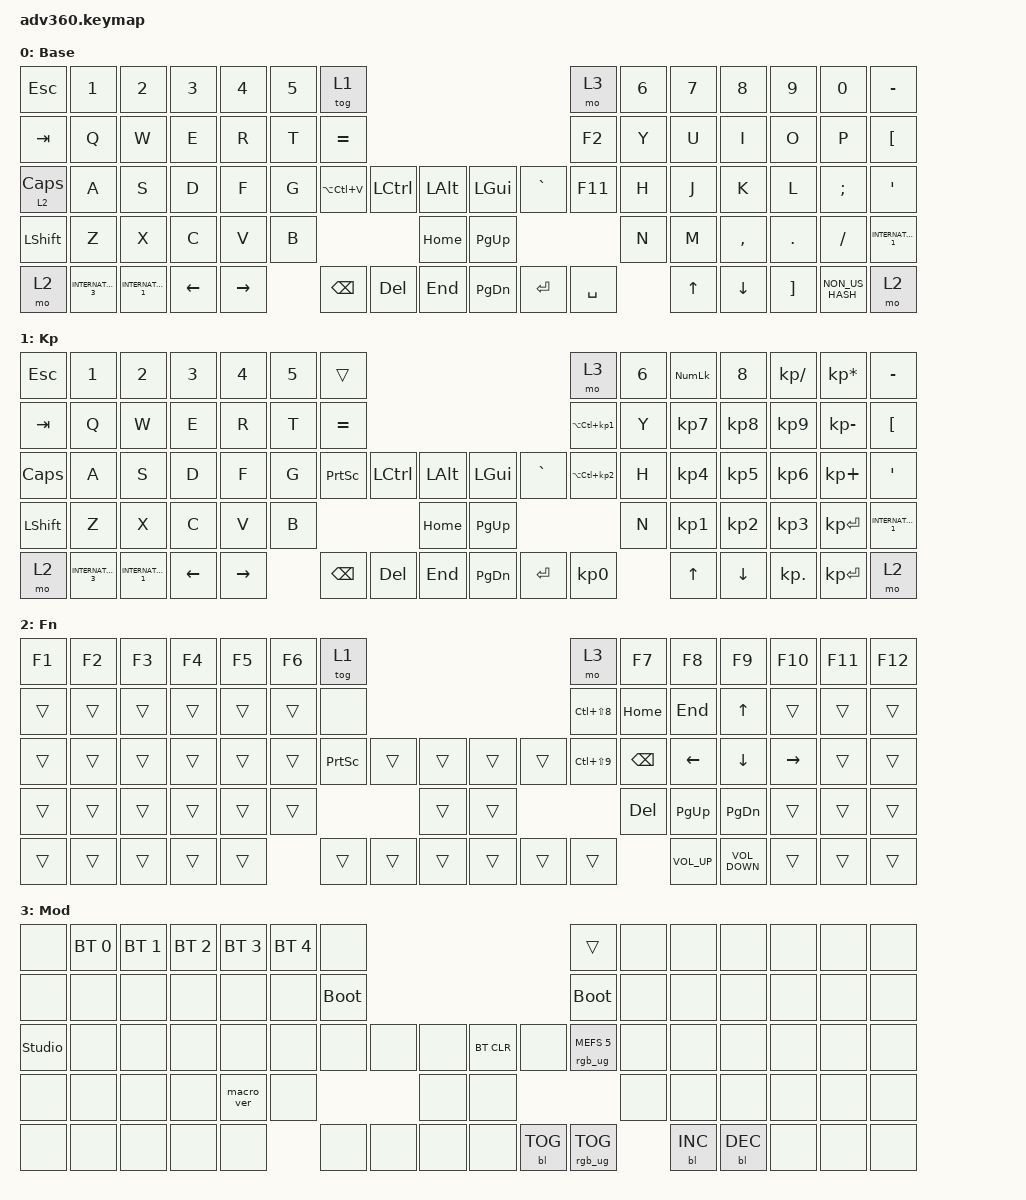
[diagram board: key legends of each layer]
#include <dt-bindings/zmk/stp.h>
#include <behaviors.dtsi>
#include <dt-bindings/zmk/backlight.h>
#include <dt-bindings/zmk/bt.h>
#include <dt-bindings/zmk/keys.h>
#include <dt-bindings/zmk/rgb.h>

/ {
    behaviors {
        #include "macros.dtsi"
      #include "version.dtsi"

        hm: homerow_mods {
            compatible = "zmk,behavior-hold-tap";
            label = "HOMEROW_MODS";
            #binding-cells = <2>;
            tapping-term-ms = <200>;
            quick_tap_ms = <175>;
            flavor = "tap-preferred";
            bindings = <&kp>, <&kp>;
        };
    };

    keymap {
        compatible = "zmk,keymap";

        default_layer {
            display-name = "Base";
            bindings = <
&kp ESCAPE      &kp N1               &kp N2               &kp N3    &kp N4     &kp N5  &tog 1                                                            &mo 3      &kp N6  &kp N7  &kp N8     &kp N9             &kp N0           &kp MINUS
&kp TAB         &kp Q                &kp W                &kp E     &kp R      &kp T   &kp EQUAL                                                         &kp F2     &kp Y   &kp U   &kp I      &kp O              &kp P            &kp LEFT_BRACKET
&lt 2 CAPSLOCK  &kp A                &kp S                &kp D     &kp F      &kp G   &kp LA(LC(V))  &kp LCTRL  &kp LALT      &kp LGUI       &kp GRAVE  &kp F11    &kp H   &kp J   &kp K      &kp L              &kp SEMICOLON    &kp SINGLE_QUOTE
&kp LSHFT       &kp Z                &kp X                &kp C     &kp V      &kp B                             &kp HOME      &kp PAGE_UP                          &kp N   &kp M   &kp COMMA  &kp DOT            &kp FSLH         &kp INTERNATIONAL_1
&mo 2           &kp INTERNATIONAL_3  &kp INTERNATIONAL_1  &kp LEFT  &kp RIGHT          &kp BSPC       &kp DEL    &kp END       &kp PAGE_DOWN  &kp ENTER  &kp SPACE          &kp UP  &kp DOWN   &kp RIGHT_BRACKET  &kp NON_US_HASH  &mo 2
            >;
        };

        layer_keypad {
            display-name = "Kp";
            bindings = <
&kp ESCAPE  &kp N1               &kp N2               &kp N3    &kp N4     &kp N5  &trans                                                          &mo 3                    &kp N6  &kp KP_NUM  &kp N8     &kp KP_DIVIDE  &kp KP_MULTIPLY  &kp MINUS
&kp TAB     &kp Q                &kp W                &kp E     &kp R      &kp T   &kp EQUAL                                                       &kp LA(LC(KP_NUMBER_1))  &kp Y   &kp KP_N7   &kp KP_N8  &kp KP_N9      &kp KP_MINUS     &kp LEFT_BRACKET
&kp CAPS    &kp A                &kp S                &kp D     &kp F      &kp G   &kp PRINTSCREEN  &kp LCTRL  &kp LALT      &kp LGUI   &kp GRAVE  &kp LA(LC(KP_NUMBER_2))  &kp H   &kp KP_N4   &kp KP_N5  &kp KP_N6      &kp KP_PLUS      &kp SINGLE_QUOTE
&kp LSHFT   &kp Z                &kp X                &kp C     &kp V      &kp B                               &kp HOME      &kp PG_UP                                      &kp N   &kp KP_N1   &kp KP_N2  &kp KP_N3      &kp KP_ENTER     &kp INTERNATIONAL_1
&mo 2       &kp INTERNATIONAL_3  &kp INTERNATIONAL_1  &kp LEFT  &kp RIGHT          &kp BSPC         &kp DEL    &kp END       &kp PG_DN  &kp ENTER  &kp KP_N0                        &kp UP      &kp DOWN   &kp KP_DOT     &kp KP_ENTER     &mo 2
            >;
        };

        layer_fn {
            display-name = "Fn";
            bindings = <
&kp F1  &kp F2  &kp F3  &kp F4  &kp F5  &kp F6  &tog 1                                               &mo 3           &kp F7         &kp F8           &kp F9             &kp F10    &kp F11  &kp F12
&trans  &trans  &trans  &trans  &trans  &trans  &none                                                &kp LC(LS(N8))  &kp HOME       &kp END          &kp UP_ARROW       &trans     &trans   &trans
&trans  &trans  &trans  &trans  &trans  &trans  &kp PRINTSCREEN  &trans  &trans      &trans  &trans  &kp LC(LS(N9))  &kp BACKSPACE  &kp LEFT_ARROW   &kp DOWN           &kp RIGHT  &trans   &trans
&trans  &trans  &trans  &trans  &trans  &trans                           &trans      &trans                          &kp DELETE     &kp PAGE_UP      &kp PAGE_DOWN      &trans     &trans   &trans
&trans  &trans  &trans  &trans  &trans          &trans           &trans  &trans      &trans  &trans  &trans                         &kp C_VOLUME_UP  &kp C_VOLUME_DOWN  &trans     &trans   &trans
            >;
        };

        layer_mod {
            display-name = "Mod";
            bindings = <
&none           &bt BT_SEL 0  &bt BT_SEL 1  &bt BT_SEL 2  &bt BT_SEL 3  &bt BT_SEL 4  &none                                                  &trans                  &none  &none       &none       &none  &none  &none
&none           &none         &none         &none         &none         &none         &bootloader                                            &bootloader             &none  &none       &none       &none  &none  &none
&studio_unlock  &none         &none         &none         &none         &none         &none        &none  &none      &bt BT_CLR  &none       &rgb_ug RGB_MEFS_CMD 5  &none  &none       &none       &none  &none  &none
&none           &none         &none         &none         &macro_ver    &none                             &none      &none                                           &none  &none       &none       &none  &none  &none
&none           &none         &none         &none         &none                       &none        &none  &none      &none       &bl BL_TOG  &rgb_ug RGB_TOG                &bl BL_INC  &bl BL_DEC  &none  &none  &none
            >;
        };

        extra1 {
            display-name = "Red";
            status = "reserved";
        };

        extra2 {
            display-name = "Purple";
            status = "reserved";
        };

        extra3 {
            display-name = "Cyan";
            status = "reserved";
        };

        extra4 {
            display-name = "Yellow";
            status = "reserved";
        };
    };
};
